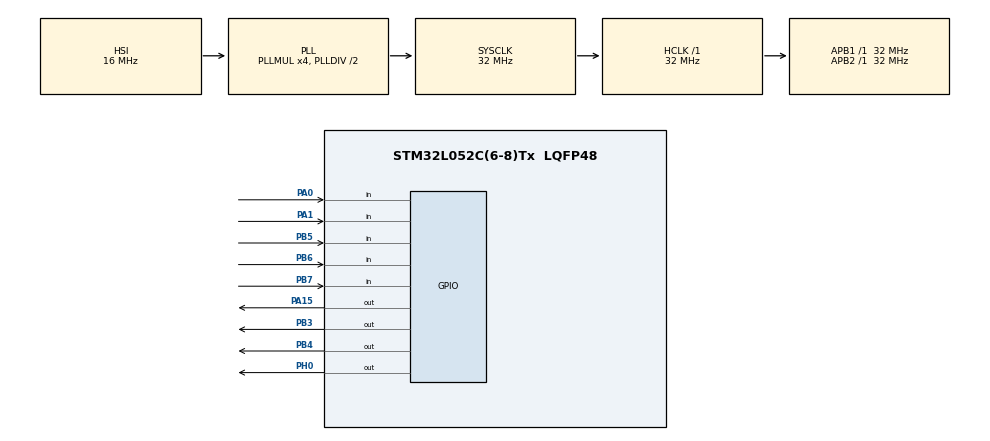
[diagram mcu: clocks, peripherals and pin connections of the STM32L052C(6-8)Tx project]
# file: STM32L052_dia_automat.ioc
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Mcu.Family=STM32L0
Mcu.Name=STM32L052C(6-8)Tx
Mcu.Package=LQFP48
PA0.GPIO_PuPd=GPIO_PULLUP
PA0.Signal=GPIO_Input
PA1.GPIO_PuPd=GPIO_PULLUP
PA1.Signal=GPIO_Input
PA15.GPIO_Speed=GPIO_SPEED_FREQ_MEDIUM
PA15.Signal=GPIO_Output
PB3.GPIO_Speed=GPIO_SPEED_FREQ_MEDIUM
PB3.Signal=GPIO_Output
PB4.GPIO_Speed=GPIO_SPEED_FREQ_MEDIUM
PB4.Signal=GPIO_Output
PB5.GPIO_PuPd=GPIO_PULLUP
PB5.Signal=GPIO_Input
PB6.GPIO_PuPd=GPIO_PULLUP
PB6.Signal=GPIO_Input
PB7.GPIO_PuPd=GPIO_PULLUP
PB7.Signal=GPIO_Input
PH0-OSC_IN.GPIO_Speed=GPIO_SPEED_FREQ_MEDIUM
PH0-OSC_IN.Signal=GPIO_Output
ProjectManager.HeapSize=0x200
ProjectManager.StackSize=0x400
ProjectManager.TargetToolchain=Makefile
RCC.AHBFreq_Value=32000000
RCC.APB1Freq_Value=32000000
RCC.APB1TimFreq_Value=32000000
RCC.APB2Freq_Value=32000000
RCC.APB2TimFreq_Value=32000000
RCC.HCLKFreq_Value=32000000
RCC.HSE_VALUE=8000000
RCC.HSI16_VALUE=16000000
RCC.HSI48_VALUE=48000000
RCC.HSI_VALUE=16000000
RCC.LSE_VALUE=32768
RCC.MSI_VALUE=2097000
RCC.PLLMUL=RCC_PLLMUL_4
RCC.SYSCLKFreq_VALUE=32000000
RCC.SYSCLKSource=RCC_SYSCLKSOURCE_PLLCLK
RCC.VCOOutputFreq_Value=64000000
board=STM32L052_dia_automat

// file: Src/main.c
/**
  ******************************************************************************
  * File Name          : main.c
  * Description        : Main program body
  ******************************************************************************
  ** This notice applies to any and all portions of this file
  * that are not between comment pairs USER CODE BEGIN and
  * USER CODE END. Other portions of this file, whether
  * inserted by the user or by software development tools
  * are owned by their respective copyright owners.
  *
  * COPYRIGHT(c) 2017 STMicroelectronics
  *
  * Redistribution and use in source and binary forms, with or without modification,
  * are permitted provided that the following conditions are met:
  *   1. Redistributions of source code must retain the above copyright notice,
  *      this list of conditions and the following disclaimer.
  *   2. Redistributions in binary form must reproduce the above copyright notice,
  *      this list of conditions and the following disclaimer in the documentation
  *      and/or other materials provided with the distribution.
  *   3. Neither the name of STMicroelectronics nor the names of its contributors
  *      may be used to endorse or promote products derived from this software
  *      without specific prior written permission.
  *
  * THIS SOFTWARE IS PROVIDED BY THE COPYRIGHT HOLDERS AND CONTRIBUTORS "AS IS"
  * AND ANY EXPRESS OR IMPLIED WARRANTIES, INCLUDING, BUT NOT LIMITED TO, THE
  * IMPLIED WARRANTIES OF MERCHANTABILITY AND FITNESS FOR A PARTICULAR PURPOSE ARE
  * DISCLAIMED. IN NO EVENT SHALL THE COPYRIGHT HOLDER OR CONTRIBUTORS BE LIABLE
  * FOR ANY DIRECT, INDIRECT, INCIDENTAL, SPECIAL, EXEMPLARY, OR CONSEQUENTIAL
  * DAMAGES (INCLUDING, BUT NOT LIMITED TO, PROCUREMENT OF SUBSTITUTE GOODS OR
  * SERVICES; LOSS OF USE, DATA, OR PROFITS; OR BUSINESS INTERRUPTION) HOWEVER
  * CAUSED AND ON ANY THEORY OF LIABILITY, WHETHER IN CONTRACT, STRICT LIABILITY,
  * OR TORT (INCLUDING NEGLIGENCE OR OTHERWISE) ARISING IN ANY WAY OUT OF THE USE
  * OF THIS SOFTWARE, EVEN IF ADVISED OF THE POSSIBILITY OF SUCH DAMAGE.
  *
  ******************************************************************************
  */
#include "main.h"
#include "stm32l0xx_hal.h"

/* USER CODE BEGIN PV */
/* Private variables ---------------------------------------------------------*/
volatile enum STATE state;
enum STATE saved_state;
uint16_t counter;
uint32_t timer;
/* USER CODE END PV */

void SystemClock_Config(void);
static void MX_GPIO_Init(void);

/* USER CODE BEGIN PFP */
/* Private function prototypes -----------------------------------------------*/

/* USER CODE END PFP */

int main(void)
{

  /* MCU Configuration----------------------------------------------------------*/

  /* Reset of all peripherals, Initializes the Flash interface and the Systick. */
  HAL_Init();

  /* Configure the system clock */
  SystemClock_Config();

  /* Initialize all configured peripherals */
  MX_GPIO_Init();

  /* USER CODE BEGIN 2 */
  counter = 1;
  timer = 0;
  state = STOP;
  /* USER CODE END 2 */

  /* Infinite loop */
  while (1)
  {

  /* USER CODE BEGIN 3 */

    switch (state) {
    case STOP:
      HAL_GPIO_WritePin(STATE_PORT, STATE_PIN, GPIO_PIN_RESET);
      HAL_GPIO_WritePin(TRIG_PORT, TRIG_PIN, GPIO_PIN_RESET);
      HAL_GPIO_WritePin(FEED_PORT, FEED_PIN, GPIO_PIN_RESET);
      if (HAL_GPIO_ReadPin(START_PORT, START_PIN) == GPIO_PIN_RESET) {
        // start button pushed -> transition to RUN_TRIG
        if (HAL_GPIO_ReadPin(MODEA_PORT, MODEA_PIN) == GPIO_PIN_RESET) {
          counter = 0;
        } else if (HAL_GPIO_ReadPin(MODEB_PORT, MODEB_PIN) == GPIO_PIN_RESET) {
          counter = 49;
        } else {
          counter = 35;
        }

        state = RUN_TRIG;
        timer = HAL_GetTick();
      }
      break;
    case RUN_TRIG:
      HAL_GPIO_WritePin(STATE_PORT, STATE_PIN, GPIO_PIN_SET);
      HAL_GPIO_WritePin(TRIG_PORT, TRIG_PIN, GPIO_PIN_SET);
      if ((HAL_GetTick() - timer) > TRIG_ON) {
        // on time passed -> transition to RUN_TRIG_DELAY
        HAL_GPIO_WritePin(TRIG_PORT, TRIG_PIN, GPIO_PIN_RESET);
        state = RUN_TRIG_DELAY;
        timer = HAL_GetTick();
      }
      break;
    case RUN_TRIG_DELAY:
      HAL_GPIO_WritePin(STATE_PORT, STATE_PIN, GPIO_PIN_SET);
      if ((HAL_GetTick() - timer) > TRIG_DELAY) {
        state = RUN_FEED;
        timer = HAL_GetTick();
      } else if (HAL_GPIO_ReadPin(STOP_PORT, STOP_PIN) == GPIO_PIN_RESET) {
        state = STOP;
      } else if (HAL_GPIO_ReadPin(PAUSE_PORT, PAUSE_PIN) == GPIO_PIN_RESET) {
        saved_state = state;
        state = PAUSE;
      }
      break;
    case RUN_FEED:
      HAL_GPIO_WritePin(STATE_PORT, STATE_PIN, GPIO_PIN_SET);
      HAL_GPIO_WritePin(FEED_PORT, FEED_PIN, GPIO_PIN_SET);
      if ((HAL_GetTick() - timer) > FEED_ON) {
        HAL_GPIO_WritePin(FEED_PORT, FEED_PIN, GPIO_PIN_RESET);
        state = RUN_FEED_DELAY;
        timer = HAL_GetTick();
      }
      break;
    case RUN_FEED_DELAY:
      HAL_GPIO_WritePin(STATE_PORT, STATE_PIN, GPIO_PIN_SET);
      if ((HAL_GetTick() - timer) > FEED_DELAY) {
        if (counter-- == 0) {
          state = STOP;
        } else {
          state = RUN_TRIG;
          timer = HAL_GetTick();
        }
      } else if (HAL_GPIO_ReadPin(STOP_PORT, STOP_PIN) == GPIO_PIN_RESET) {
        state = STOP;
      } else if (HAL_GPIO_ReadPin(PAUSE_PORT, PAUSE_PIN) == GPIO_PIN_RESET) {
        saved_state = state;
        state = PAUSE;
      }
      break;
    case PAUSE:
      HAL_GPIO_WritePin(STATE_PORT, STATE_PIN, GPIO_PIN_RESET);
      if (HAL_GPIO_ReadPin(START_PORT, START_PIN) == GPIO_PIN_RESET) {
        state = saved_state;
      }
      break;
    }
  }
  /* USER CODE END 3 */

}

/** System Clock Configuration
*/
void SystemClock_Config(void)
{

  RCC_OscInitTypeDef RCC_OscInitStruct;
  RCC_ClkInitTypeDef RCC_ClkInitStruct;

    /**Configure the main internal regulator output voltage
    */
  __HAL_PWR_VOLTAGESCALING_CONFIG(PWR_REGULATOR_VOLTAGE_SCALE1);

    /**Initializes the CPU, AHB and APB busses clocks
    */
  RCC_OscInitStruct.OscillatorType = RCC_OSCILLATORTYPE_HSI;
  RCC_OscInitStruct.HSIState = RCC_HSI_ON;
  RCC_OscInitStruct.HSICalibrationValue = 16;
  RCC_OscInitStruct.PLL.PLLState = RCC_PLL_ON;
  RCC_OscInitStruct.PLL.PLLSource = RCC_PLLSOURCE_HSI;
  RCC_OscInitStruct.PLL.PLLMUL = RCC_PLLMUL_4;
  RCC_OscInitStruct.PLL.PLLDIV = RCC_PLLDIV_2;
  if (HAL_RCC_OscConfig(&RCC_OscInitStruct) != HAL_OK)
  {
    _Error_Handler(__FILE__, __LINE__);
  }

    /**Initializes the CPU, AHB and APB busses clocks
    */
  RCC_ClkInitStruct.ClockType = RCC_CLOCKTYPE_HCLK|RCC_CLOCKTYPE_SYSCLK
                              |RCC_CLOCKTYPE_PCLK1|RCC_CLOCKTYPE_PCLK2;
  RCC_ClkInitStruct.SYSCLKSource = RCC_SYSCLKSOURCE_PLLCLK;
  RCC_ClkInitStruct.AHBCLKDivider = RCC_SYSCLK_DIV1;
  RCC_ClkInitStruct.APB1CLKDivider = RCC_HCLK_DIV1;
  RCC_ClkInitStruct.APB2CLKDivider = RCC_HCLK_DIV1;

  if (HAL_RCC_ClockConfig(&RCC_ClkInitStruct, FLASH_LATENCY_1) != HAL_OK)
  {
    _Error_Handler(__FILE__, __LINE__);
  }

    /**Configure the Systick interrupt time
    */
  HAL_SYSTICK_Config(HAL_RCC_GetHCLKFreq()/1000);

    /**Configure the Systick
    */
  HAL_SYSTICK_CLKSourceConfig(SYSTICK_CLKSOURCE_HCLK);

  /* SysTick_IRQn interrupt configuration */
  HAL_NVIC_SetPriority(SysTick_IRQn, 0, 0);
}

/** Configure pins as
        * Analog
        * Input
        * Output
        * EVENT_OUT
        * EXTI
*/
static void MX_GPIO_Init(void)
{

  GPIO_InitTypeDef GPIO_InitStruct;

  /* GPIO Ports Clock Enable */
  __HAL_RCC_GPIOH_CLK_ENABLE();
  __HAL_RCC_GPIOA_CLK_ENABLE();
  __HAL_RCC_GPIOB_CLK_ENABLE();

  /*Configure GPIO pin Output Level */
  HAL_GPIO_WritePin(GPIOH, GPIO_PIN_0, GPIO_PIN_RESET);

  /*Configure GPIO pin Output Level */
  HAL_GPIO_WritePin(GPIOA, GPIO_PIN_15, GPIO_PIN_RESET);

  /*Configure GPIO pin Output Level */
  HAL_GPIO_WritePin(GPIOB, GPIO_PIN_3|GPIO_PIN_4, GPIO_PIN_RESET);

  /*Configure GPIO pin : PH0 */
  GPIO_InitStruct.Pin = GPIO_PIN_0;
  GPIO_InitStruct.Mode = GPIO_MODE_OUTPUT_PP;
  GPIO_InitStruct.Pull = GPIO_NOPULL;
  GPIO_InitStruct.Speed = GPIO_SPEED_FREQ_MEDIUM;
  HAL_GPIO_Init(GPIOH, &GPIO_InitStruct);

  /*Configure GPIO pins : PA0 PA1 */
  GPIO_InitStruct.Pin = GPIO_PIN_0|GPIO_PIN_1;
  GPIO_InitStruct.Mode = GPIO_MODE_INPUT;
  GPIO_InitStruct.Pull = GPIO_PULLUP;
  HAL_GPIO_Init(GPIOA, &GPIO_InitStruct);

  /*Configure GPIO pin : PA15 */
  GPIO_InitStruct.Pin = GPIO_PIN_15;
  GPIO_InitStruct.Mode = GPIO_MODE_OUTPUT_PP;
  GPIO_InitStruct.Pull = GPIO_NOPULL;
  GPIO_InitStruct.Speed = GPIO_SPEED_FREQ_MEDIUM;
  HAL_GPIO_Init(GPIOA, &GPIO_InitStruct);

  /*Configure GPIO pins : PB3 PB4 */
  GPIO_InitStruct.Pin = GPIO_PIN_3|GPIO_PIN_4;
  GPIO_InitStruct.Mode = GPIO_MODE_OUTPUT_PP;
  GPIO_InitStruct.Pull = GPIO_NOPULL;
  GPIO_InitStruct.Speed = GPIO_SPEED_FREQ_MEDIUM;
  HAL_GPIO_Init(GPIOB, &GPIO_InitStruct);

  /*Configure GPIO pins : PB5 PB6 PB7 */
  GPIO_InitStruct.Pin = GPIO_PIN_5|GPIO_PIN_6|GPIO_PIN_7;
  GPIO_InitStruct.Mode = GPIO_MODE_INPUT;
  GPIO_InitStruct.Pull = GPIO_PULLUP;
  HAL_GPIO_Init(GPIOB, &GPIO_InitStruct);

}

void _Error_Handler(char * file, int line)
{
  while(1)
  {
  }
}

/************************ (C) COPYRIGHT STMicroelectronics *****END OF FILE****/
